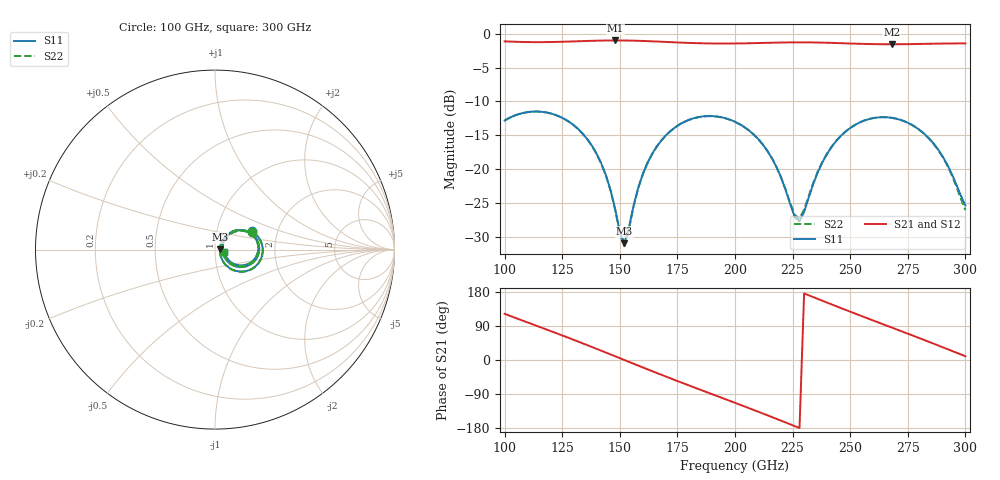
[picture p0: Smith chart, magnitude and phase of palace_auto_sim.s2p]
#  GHZ S DB R 50
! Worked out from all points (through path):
!   101 points, 100 GHz to 300 GHz, reference 50 ohm
!   highest |S21| = -0.97 dB at 148 GHz (marker M1); lowest = -1.5 dB at 268 GHz (marker M2)
!   group delay of S21, straight-line fit = 6.57 ps
!   lowest |S11| = -31.0 dB at 152 GHz (marker M3), VSWR 1.06, Z = 52.9 + j0.117 ohm
!   |S11| at or under -10 dB: start of sweep to end of sweep
!   |S22| runs from -31.4 to -11.5 dB; largest |S21 - S12| = 1e-13
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100  -12.83 26.3  -1.10 121.9  -1.10 121.9  -12.82 26.0
108  -11.71 10.1  -1.20 103.6  -1.20 103.6  -11.71 9.8
118  -11.62 -10.3  -1.21 80.9  -1.21 80.9  -11.63 -10.6
134  -14.81 -42.2  -1.07 43.7  -1.07 43.7  -14.82 -42.7
142  -19.21 -54.3  -0.99 24.4  -0.99 24.4  -19.24 -55.1
148  -25.93 -49.1  -0.97 9.8  -0.97 9.8  -26.06 -50.6
152  -30.98 2.2  -0.98 -0.1  -0.98 -0.1  -31.43 2.2
160  -20.73 51.6  -1.05 -19.6  -1.05 -19.6  -20.78 52.3
168  -15.78 41.6  -1.16 -38.9  -1.16 -38.9  -15.80 41.9
184  -12.32 11.4  -1.38 -76.3  -1.38 -76.3  -12.34 11.6
200  -13.01 -18.9  -1.42 -113.0  -1.42 -113.0  -13.02 -18.7
214  -17.28 -40.9  -1.32 -145.8  -1.32 -145.8  -17.29 -40.4
228  -27.73 7.7  -1.25 -179.5  -1.25 -179.5  -27.32 7.8
234  -22.18 46.0  -1.27 165.9  -1.27 165.9  -22.03 44.6
240  -17.74 45.8  -1.31 151.4  -1.31 151.4  -17.68 44.7
248  -14.46 34.2  -1.40 132.3  -1.40 132.3  -14.44 33.3
258  -12.63 15.7  -1.50 108.9  -1.50 108.9  -12.62 14.8
268  -12.42 -3.4  -1.53 85.7  -1.53 85.7  -12.42 -4.3
276  -13.32 -18.1  -1.51 67.1  -1.51 67.1  -13.33 -19.3
286  -16.15 -33.8  -1.45 43.6  -1.45 43.6  -16.19 -35.6
292  -19.27 -38.1  -1.42 29.2  -1.42 29.2  -19.39 -40.5
300  -25.40 -14.5  -1.41 9.9  -1.41 9.9  -26.09 -17.2
